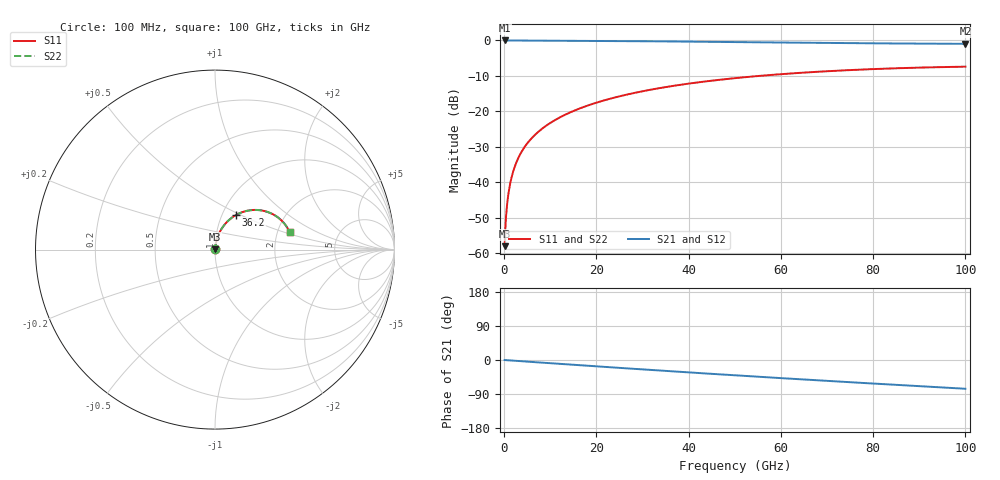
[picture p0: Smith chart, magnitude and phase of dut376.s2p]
! Touchstone file exported from HFSS 2026.1.0
!  File:  C:/ffzhzh/LocalFiles/Ansys_Project_Files/temp_train_RDL_376_1783503623_31944.aedt
!  Generated:  05:41:39 PM Jul  8, 2026
!  Design:  RDL
!  Project:  temp_train_RDL_376_1783503623_31944
! Variables:
!  h_bsmrdl = 2um
!  h_ox = 20um
!  h_rdl = 5um
!  h_sub = 80um
!  h_tmrdl = 4.62um
!  h_tsv = 80um
!  h_via = 3um
!  l_bsmrdl = 300um
!  l_sub = 637.78um
!  l_tmrdl = 237.78um
!  m_sub = 200um
!  pitch = 41.91um
!  r_tsv = 6um
!  s_tmrdl = 10um
!  w_bsmrdl = 18um
!  w_sub = 500um
!  w_tmrdl = 23.37um
!  x_tsv_center1 = 249.465um
!  x_tsv_center2 = 567.465um
!  x_tsv_center3 = 828.615um
!  x_tsv_center4 = 1146.615um
!  x_tsv_center5 = 1407.765um
!  x_tsv_center6 = 1725.765um
# GHz S MA R 50.000000
! Terminal data exported
! Port[1] = TM_RDL1_1_T1
! Port[2] = TM_RDL1_1_T2
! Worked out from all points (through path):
!   1000 points, 100 MHz to 100 GHz, reference 50 ohm
!   highest |S21| = -0.01 dB at 100 MHz (marker M1); lowest = -1.0 dB at 100 GHz (marker M2)
!   group delay of S21, straight-line fit = 2.1 ps
!   lowest |S11| = -58.0 dB at 100 MHz (marker M3), VSWR 1.00, Z = 50.1 + j0.0824 ohm
!   |S11| at or under -10 dB: start of sweep to 55.28 GHz
!   |S22| runs from -58.0 to -7.4 dB; largest |S21 - S12| = 3.5e-15
!   S11 on the Smith chart (normalised r, x): 100 MHz: 1.00, +0.00; 36.2 GHz: 1.16, +0.47; 100 GHz: 2.33, +0.56
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0.1  0.001263 40.6  0.999 -0.1  0.999 -0.1  0.001263 40.6
! Gamma 0 0 0 0
! Port Impedance 50 0 50 0
0.3  0.002564 64.5  0.9989 -0.3  0.9989 -0.3  0.002564 64.5
0.7  0.005306 76.2  0.9988 -0.6  0.9988 -0.6  0.005306 76.2
0.9  0.006712 78.5  0.9987 -0.8  0.9987 -0.8  0.006712 78.5
1.2  0.008838 80.5  0.9987 -1.0  0.9987 -1.0  0.008838 80.5
1.5  0.01097 81.6  0.9986 -1.3  0.9986 -1.3  0.01097 81.6
2  0.01453 82.4  0.9984 -1.7  0.9984 -1.7  0.01453 82.4
2.5  0.01806 82.7  0.9982 -2.2  0.9982 -2.2  0.01806 82.7
3.2  0.02298 82.7  0.9979 -2.8  0.9979 -2.8  0.02298 82.7
4  0.02853 82.4  0.9975 -3.4  0.9975 -3.4  0.02853 82.4
5  0.03538 81.8  0.997 -4.3  0.997 -4.3  0.03538 81.8
6.1  0.04283 81.1  0.9964 -5.2  0.9964 -5.2  0.04283 81.1
8.9  0.06151 79.3  0.9947 -7.6  0.9947 -7.6  0.06151 79.2
12.4  0.08444 76.8  0.9923 -10.5  0.9923 -10.5  0.08444 76.7
16.8  0.1127 73.5  0.9889 -14.1  0.9889 -14.1  0.1127 73.5
24.2  0.1584 67.8  0.9817 -20.1  0.9817 -20.1  0.1584 67.8
33.4  0.2114 60.8  0.9709 -27.5  0.9709 -27.5  0.2113 60.7
36.2  0.2265 58.6  0.9672 -29.7  0.9672 -29.7  0.2265 58.6
50.1  0.2943 48.2  0.9481 -40.4  0.9481 -40.4  0.2943 48.1
66.7  0.3578 36.2  0.9257 -52.7  0.9257 -52.7  0.3578 36.1
83.4  0.402 24.5  0.9072 -64.5  0.9072 -64.5  0.402 24.5
100  0.4267 13.3  0.8956 -75.9  0.8956 -75.9  0.4267 13.3
